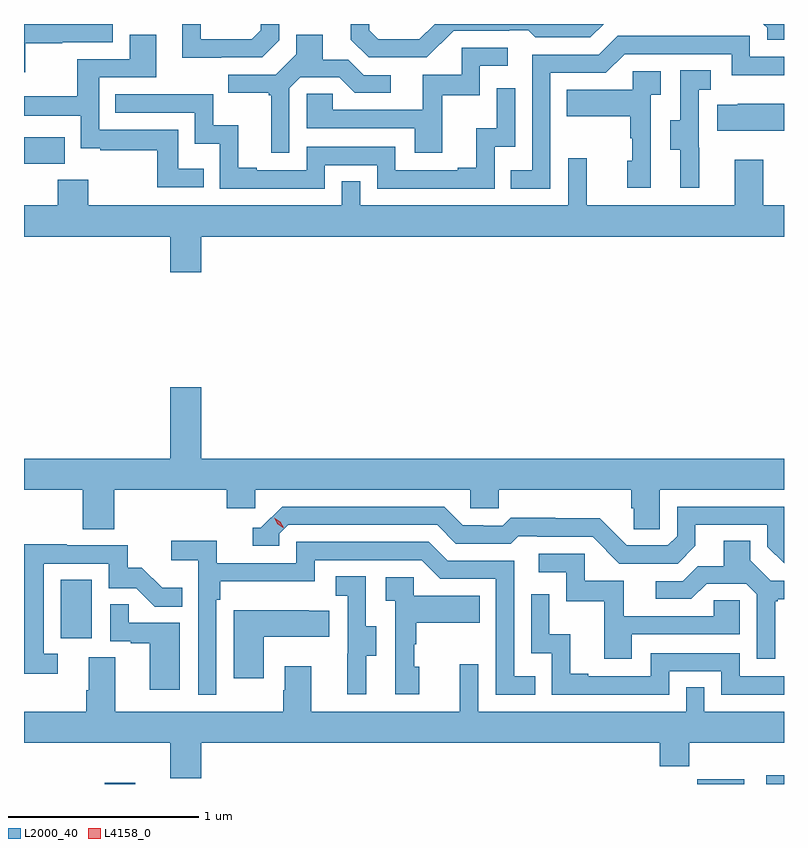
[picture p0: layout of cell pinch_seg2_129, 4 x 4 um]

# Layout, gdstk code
import gdstk
lib = gdstk.Library(unit=1e-6, precision=1e-09)
def R(c, l, rs):  # rectangles x0, y0, x1, y1
    for r in rs: c.add(gdstk.rectangle(r[:2], r[2:], *l))
def P(c, l, *ps):  # polygons
    for p in ps: c.add(gdstk.Polygon(p, *l))
L2000_40 = (2000, 40)
L4158_0 = (4158, 0)

pinch_seg2_129 = lib.new_cell('pinch_seg2_129')
R(pinch_seg2_129, L2000_40, [(1027.799,627.439,1027.96,627.445), (1030.918,627.439,1031.167,627.463), (1031.282,627.439,1031.375,627.484), (1027.568,628.206,1027.732,628.513), (1027.375,630.704,1027.589,630.844)])
P(pinch_seg2_129, L2000_40, [(1031.375,631.439),(1031.266,631.439),(1031.286,631.419),(1031.286,631.356),(1031.375,631.356)],
  [(1027.381,631.339),(1027.577,631.339),(1027.577,631.344),(1027.842,631.344),(1027.842,631.439),(1027.375,631.439),(1027.375,631.184),(1027.381,631.184)],
  [(1028.412,631.263),(1028.628,631.263),(1028.718,631.353),(1028.718,631.439),(1028.622,631.439),(1028.622,631.407),(1028.574,631.359),(1028.304,631.359),(1028.304,631.439),(1028.207,631.439),(1028.207,631.262),(1028.412,631.262)],
  [(1029.636,631.404),(1029.929,631.404),(1029.929,631.407),(1030.028,631.407),(1030.067,631.368),(1030.356,631.368),(1030.427,631.439),(1029.536,631.439),(1029.456,631.359),(1029.24,631.359),(1029.192,631.407),(1029.192,631.439),(1029.095,631.439),(1029.095,631.357),(1029.189,631.263),(1029.495,631.263)],
  [(1028.321,630.676),(1028.187,630.676),(1028.187,630.882),(1027.77,630.882),(1027.77,631.158),(1028.071,631.158),(1028.071,631.382),(1027.931,631.382),(1027.931,631.254),(1027.654,631.254),(1027.654,631.058),(1027.375,631.058),(1027.375,630.957),(1027.674,630.957),(1027.674,630.785),(1027.777,630.785),(1027.777,630.774),(1028.076,630.774),(1028.076,630.579),(1028.321,630.579)],
  [(1028.772,631.101),(1028.829,631.158),(1029.035,631.158),(1029.116,631.077),(1029.304,631.077),(1029.304,631.17),(1029.162,631.17),(1029.082,631.25),(1028.947,631.25),(1028.947,631.382),(1028.807,631.382),(1028.807,631.28),(1028.7,631.173),(1028.451,631.173),(1028.451,631.076),(1028.664,631.076),(1028.664,631.065),(1028.675,631.065),(1028.675,630.762),(1028.772,630.762)],
  [(1030.146,631.182),(1030.437,631.182),(1030.536,631.281),(1031.1,631.281),(1031.1,631.169),(1031.375,631.169),(1031.375,631.266),(1031.196,631.266),(1031.196,631.377),(1030.499,631.377),(1030.4,631.278),(1030.05,631.278),(1030.05,630.669),(1029.937,630.669),(1029.937,630.573),(1030.146,630.573)],
  [(1029.575,631.065),(1029.774,631.065),(1029.774,631.218),(1029.922,631.218),(1029.922,631.314),(1029.678,631.314),(1029.678,631.173),(1029.473,631.173),(1029.473,630.987),(1028.999,630.987),(1028.999,631.071),(1028.862,631.071),(1028.862,630.891),(1029.431,630.891),(1029.431,630.762),(1029.575,630.762)],
  [(1030.928,630.789),(1030.926,630.789),(1030.926,631.093),(1030.99,631.093),(1030.99,631.196),(1030.83,631.196),(1030.83,630.933),(1030.775,630.933),(1030.775,630.778),(1030.829,630.778),(1030.829,630.576),(1030.928,630.576)],
  [(1030.674,631.067),(1030.726,631.067),(1030.726,631.191),(1030.578,631.191),(1030.578,631.093),(1030.231,631.093),(1030.231,630.953),(1030.566,630.953),(1030.566,630.839),(1030.576,630.839),(1030.576,630.72),(1030.55,630.72),(1030.55,630.576),(1030.674,630.576)],
  [(1028.958,630.696),(1029.234,630.696),(1029.234,630.573),(1029.852,630.573),(1029.852,630.792),(1029.96,630.792),(1029.96,631.102),(1029.864,631.102),(1029.864,630.89),(1029.755,630.89),(1029.755,630.682),(1029.659,630.682),(1029.659,630.669),(1029.33,630.669),(1029.33,630.792),(1028.862,630.792),(1028.862,630.669),(1028.599,630.669),(1028.599,630.682),(1028.503,630.682),(1028.503,630.907),(1028.37,630.907),(1028.37,631.068),(1027.855,631.068),(1027.855,630.972),(1028.274,630.972),(1028.274,630.809),(1028.406,630.809),(1028.406,630.573),(1028.958,630.573)],
  [(1031.375,631.018),(1031.131,631.018),(1031.131,631.015),(1031.023,631.015),(1031.023,630.878),(1031.375,630.878)],
  [(1028.308,630.32),(1031.375,630.32),(1031.375,630.484),(1031.265,630.484),(1031.265,630.724),(1031.117,630.724),(1031.117,630.484),(1030.337,630.484),(1030.337,630.733),(1030.239,630.733),(1030.239,630.484),(1029.144,630.484),(1029.144,630.611),(1029.048,630.611),(1029.048,630.484),(1027.713,630.484),(1027.713,630.619),(1027.553,630.619),(1027.553,630.484),(1027.375,630.484),(1027.375,630.32),(1028.144,630.32),(1028.144,630.132),(1028.308,630.132)],
  [(1027.85,628.988),(1028.441,628.988),(1028.441,628.89),(1028.592,628.89),(1028.592,628.988),(1029.723,628.988),(1029.723,628.89),(1029.873,628.89),(1029.873,628.988),(1030.571,628.988),(1030.571,628.89),(1030.585,628.89),(1030.585,628.78),(1030.722,628.78),(1030.722,628.988),(1031.375,628.988),(1031.375,629.152),(1028.308,629.152),(1028.308,629.527),(1028.144,629.527),(1028.144,629.152),(1027.375,629.152),(1027.375,628.988),(1027.685,628.988),(1027.685,628.78),(1027.85,628.78)],
  [(1030.909,628.693),(1030.909,628.803),(1031.286,628.803),(1031.286,628.689),(1031.375,628.6),(1031.375,628.899),(1030.812,628.899),(1030.812,628.743),(1030.764,628.695),(1030.548,628.695),(1030.406,628.837),(1030.17,628.837),(1030.17,628.84),(1029.937,628.84),(1029.895,628.797),(1029.792,628.797),(1029.792,628.8),(1029.685,628.8),(1029.586,628.899),(1028.733,628.899),(1028.622,628.788),(1028.579,628.788),(1028.579,628.692),(1028.718,628.692),(1028.718,628.755),(1028.766,628.803),(1029.549,628.803),(1029.648,628.704),(1029.937,628.704),(1029.976,628.743),(1030.075,628.743),(1030.075,628.74),(1030.368,628.74),(1030.509,628.599),(1030.815,628.599)],
  [(1031.329,628.401),(1031.341,628.401),(1031.341,628.412),(1031.375,628.412),(1031.375,628.509),(1031.304,628.509),(1031.197,628.616),(1031.197,628.718),(1031.057,628.718),(1031.057,628.586),(1030.922,628.586),(1030.842,628.506),(1030.701,628.506),(1030.701,628.413),(1030.888,628.413),(1030.969,628.494),(1031.175,628.494),(1031.232,628.437),(1031.232,628.098),(1031.329,628.098)],
  [(1028.388,628.409),(1028.408,628.409),(1028.408,628.505),(1028.904,628.505),(1028.904,628.617),(1029.468,628.617),(1029.567,628.518),(1029.858,628.518),(1029.858,627.909),(1030.067,627.909),(1030.067,628.005),(1029.954,628.005),(1029.954,628.614),(1029.604,628.614),(1029.505,628.713),(1028.808,628.713),(1028.808,628.602),(1028.39,628.602),(1028.39,628.718),(1028.151,628.718),(1028.151,628.616),(1028.292,628.616),(1028.292,627.909),(1028.388,627.909)],
  [(1027.552,628.125),(1027.479,628.125),(1027.479,628.599),(1027.821,628.599),(1027.821,628.47),(1027.965,628.47),(1028.063,628.372),(1028.207,628.372),(1028.207,628.471),(1028.103,628.471),(1027.996,628.578),(1027.92,628.578),(1027.92,628.695),(1027.601,628.695),(1027.601,628.7),(1027.375,628.7),(1027.375,628.02),(1027.552,628.02)],
  [(1030.573,628.227),(1031.142,628.227),(1031.142,628.407),(1031.005,628.407),(1031.005,628.323),(1030.531,628.323),(1030.531,628.509),(1030.326,628.509),(1030.326,628.65),(1030.083,628.65),(1030.083,628.554),(1030.23,628.554),(1030.23,628.401),(1030.429,628.401),(1030.429,628.098),(1030.573,628.098)],
  [(1029.175,628.114),(1029.229,628.114),(1029.229,628.269),(1029.174,628.269),(1029.174,628.532),(1029.015,628.532),(1029.015,628.429),(1029.078,628.429),(1029.078,628.125),(1029.077,628.125),(1029.077,627.912),(1029.175,627.912)],
  [(1029.454,628.056),(1029.429,628.056),(1029.429,628.175),(1029.439,628.175),(1029.439,628.289),(1029.773,628.289),(1029.773,628.429),(1029.426,628.429),(1029.426,628.527),(1029.279,628.527),(1029.279,628.403),(1029.33,628.403),(1029.33,627.912),(1029.454,627.912)],
  [(1030.77,628.032),(1031.046,628.032),(1031.046,627.909),(1031.375,627.909),(1031.375,628.005),(1031.142,628.005),(1031.142,628.128),(1030.674,628.128),(1030.674,628.005),(1030.345,628.005),(1030.345,628.018),(1030.25,628.018),(1030.25,628.226),(1030.14,628.226),(1030.14,628.438),(1030.044,628.438),(1030.044,628.128),(1030.152,628.128),(1030.152,627.909),(1030.77,627.909)],
  [(1028.194,628.287),(1027.925,628.287),(1027.925,628.385),(1027.83,628.385),(1027.83,628.191),(1027.937,628.191),(1027.937,628.179),(1028.036,628.179),(1028.036,627.936),(1028.194,627.936)],
  [(1028.638,628.214),(1028.981,628.214),(1028.981,628.351),(1028.873,628.351),(1028.873,628.354),(1028.48,628.354),(1028.48,627.996),(1028.638,627.996)],
  [(1028.144,627.468),(1028.308,627.468),(1028.308,627.656),(1030.721,627.656),(1030.721,627.532),(1030.877,627.532),(1030.877,627.656),(1031.375,627.656),(1031.375,627.82),(1030.956,627.82),(1030.956,627.947),(1030.86,627.947),(1030.86,627.82),(1029.765,627.82),(1029.765,628.069),(1029.668,628.069),(1029.668,627.82),(1028.887,627.82),(1028.887,628.06),(1028.747,628.06),(1028.747,627.932),(1028.74,627.932),(1028.74,627.82),(1027.855,627.82),(1027.855,628.106),(1027.715,628.106),(1027.715,627.932),(1027.703,627.932),(1027.703,627.82),(1027.375,627.82),(1027.375,627.656),(1028.144,627.656)])
P(pinch_seg2_129, L4158_0, [(1028.74,628.788),(1028.71,628.807),(1028.693,628.84),(1028.693,628.84),(1028.693,628.84),(1028.724,628.82),(1028.741,628.788),(1028.741,628.788)])

lib.write_gds('pinch_seg2_129.gds')
